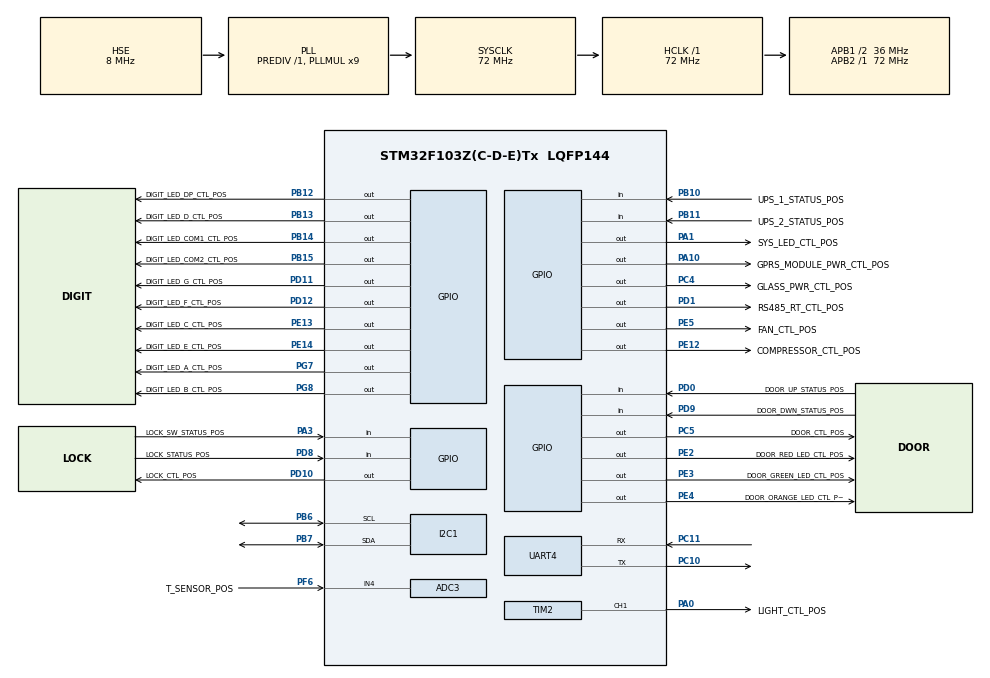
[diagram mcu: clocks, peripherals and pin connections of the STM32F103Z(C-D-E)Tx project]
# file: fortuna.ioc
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ADC3.Channel-0\#ChannelRegularConversion=ADC_CHANNEL_4
ADC3.Channel-2\#ChannelInjectedConversion=ADC_CHANNEL_4
ADC3.ContinuousConvMode=DISABLE
ADC3.DataAlign=ADC_DATAALIGN_RIGHT
ADC3.DiscontinuousConvMode=DISABLE
ADC3.EnableAnalogWatchDog=false
ADC3.EnableRegularConversion=ENABLE
ADC3.ExternalTrigConv=ADC_SOFTWARE_START
ADC3.InjNumberOfConversion=1
ADC3.InjectedOffset-2\#ChannelInjectedConversion=0
ADC3.NbrOfConversion=1
ADC3.NbrOfConversionFlag=1
ADC3.Rank-0\#ChannelRegularConversion=1
ADC3.Rank-2\#ChannelInjectedConversion=1
ADC3.SamplingTime-0\#ChannelRegularConversion=ADC_SAMPLETIME_28CYCLES_5
ADC3.SamplingTime-2\#ChannelInjectedConversion=ADC_SAMPLETIME_55CYCLES_5
ADC3.ScanConvMode=ADC_SCAN_DISABLE
Dma.ADC3.0.Direction=DMA_PERIPH_TO_MEMORY
Dma.ADC3.0.Instance=DMA2_Channel5
Dma.ADC3.0.MemDataAlignment=DMA_MDATAALIGN_HALFWORD
Dma.ADC3.0.MemInc=DMA_MINC_ENABLE
Dma.ADC3.0.Mode=DMA_CIRCULAR
Dma.ADC3.0.PeriphDataAlignment=DMA_PDATAALIGN_HALFWORD
Dma.ADC3.0.PeriphInc=DMA_PINC_DISABLE
Dma.ADC3.0.Priority=DMA_PRIORITY_LOW
Dma.Request0=ADC3
FREERTOS.INCLUDE_eTaskGetState=1
FREERTOS.INCLUDE_pcTaskGetTaskName=1
FREERTOS.INCLUDE_uxTaskGetStackHighWaterMark=1
FREERTOS.INCLUDE_vTaskDelayUntil=1
FREERTOS.INCLUDE_xEventGroupSetBitFromISR=1
FREERTOS.INCLUDE_xTaskGetCurrentTaskHandle=1
FREERTOS.INCLUDE_xTimerPendFunctionCall=1
FREERTOS.Tasks01=defaultTask,0,256,StartDefaultTask,Default,NULL,Dynamic,NULL,NULL
FREERTOS.configCHECK_FOR_STACK_OVERFLOW=2
FREERTOS.configGENERATE_RUN_TIME_STATS=1
FREERTOS.configMAX_TASK_NAME_LEN=32
FREERTOS.configMINIMAL_STACK_SIZE=256
FREERTOS.configTIMER_TASK_PRIORITY=4
FREERTOS.configTIMER_TASK_STACK_DEPTH=256
FREERTOS.configTOTAL_HEAP_SIZE=40960
FREERTOS.configUSE_IDLE_HOOK=1
FREERTOS.configUSE_MALLOC_FAILED_HOOK=1
FREERTOS.configUSE_STATS_FORMATTING_FUNCTIONS=1
FREERTOS.configUSE_TICK_HOOK=1
FREERTOS.configUSE_TIMERS=1
FREERTOS.configUSE_TRACE_FACILITY=1
IWDG.Prescaler=IWDG_PRESCALER_4
IWDG.Reload=2499
Mcu.Family=STM32F1
Mcu.Name=STM32F103Z(C-D-E)Tx
Mcu.Package=LQFP144
NVIC.DMA2_Channel4_5_IRQn=true\:5\:0\:false\:false\:true\:true\:false
NVIC.I2C1_ER_IRQn=true\:5\:0\:false\:false\:true\:true\:true
NVIC.I2C1_EV_IRQn=true\:5\:0\:false\:false\:true\:true\:true
NVIC.PriorityGroup=NVIC_PRIORITYGROUP_4
NVIC.UART4_IRQn=true\:5\:0\:false\:false\:true\:true\:true
OSC_IN.Mode=HSE-External-Oscillator
OSC_IN.Signal=RCC_OSC_IN
OSC_OUT.Mode=HSE-External-Oscillator
OSC_OUT.Signal=RCC_OSC_OUT
PA0-WKUP.GPIO_Label=LIGHT_CTL_POS
PA0-WKUP.Signal=S_TIM2_CH1_ETR
PA1.GPIO_Label=SYS_LED_CTL_POS
PA1.Signal=GPIO_Output
PA10.GPIO_Label=GPRS_MODULE_PWR_CTL_POS
PA10.Signal=GPIO_Output
PA13.Mode=JTAG_5_pins
PA13.Signal=SYS_JTMS-SWDIO
PA14.Mode=JTAG_5_pins
PA14.Signal=SYS_JTCK-SWCLK
PA15.Mode=JTAG_5_pins
PA15.Signal=SYS_JTDI
PA3.GPIO_Label=LOCK_SW_STATUS_POS
PA3.GPIO_PuPd=GPIO_PULLUP
PA3.Signal=GPIO_Input
PB10.GPIO_Label=UPS_1_STATUS_POS
PB10.GPIO_PuPd=GPIO_PULLDOWN
PB10.Signal=GPIO_Input
PB11.GPIO_Label=UPS_2_STATUS_POS
PB11.GPIO_PuPd=GPIO_PULLDOWN
PB11.Signal=GPIO_Input
PB12.GPIO_Label=DIGIT_LED_DP_CTL_POS
PB12.Signal=GPIO_Output
PB13.GPIO_Label=DIGIT_LED_D_CTL_POS
PB13.Signal=GPIO_Output
PB14.GPIO_Label=DIGIT_LED_COM1_CTL_POS
PB14.Signal=GPIO_Output
PB15.GPIO_Label=DIGIT_LED_COM2_CTL_POS
PB15.Signal=GPIO_Output
PB3.Mode=JTAG_5_pins
PB3.Signal=SYS_JTDO-TRACESWO
PB4.Mode=JTAG_5_pins
PB4.Signal=SYS_NJTRST
PB6.Mode=I2C
PB6.Signal=I2C1_SCL
PB7.Mode=I2C
PB7.Signal=I2C1_SDA
PC10.Mode=Asynchronous
PC10.Signal=UART4_TX
PC11.Mode=Asynchronous
PC11.Signal=UART4_RX
PC4.GPIO_Label=GLASS_PWR_CTL_POS
PC4.Signal=GPIO_Output
PC5.GPIO_Label=DOOR_CTL_POS
PC5.Signal=GPIO_Output
PD0.GPIO_Label=DOOR_UP_STATUS_POS
PD0.GPIO_PuPd=GPIO_PULLDOWN
PD0.Signal=GPIO_Input
PD1.GPIO_Label=RS485_RT_CTL_POS
PD1.Signal=GPIO_Output
PD10.GPIO_Label=LOCK_CTL_POS
PD10.Signal=GPIO_Output
PD11.GPIO_Label=DIGIT_LED_G_CTL_POS
PD11.Signal=GPIO_Output
PD12.GPIO_Label=DIGIT_LED_F_CTL_POS
PD12.Signal=GPIO_Output
PD8.GPIO_Label=LOCK_STATUS_POS
PD8.GPIO_PuPd=GPIO_PULLDOWN
PD8.Signal=GPIO_Input
PD9.GPIO_Label=DOOR_DWN_STATUS_POS
PD9.GPIO_PuPd=GPIO_PULLDOWN
PD9.Signal=GPIO_Input
PE12.GPIO_Label=COMPRESSOR_CTL_POS
PE12.Signal=GPIO_Output
PE13.GPIO_Label=DIGIT_LED_C_CTL_POS
PE13.Signal=GPIO_Output
PE14.GPIO_Label=DIGIT_LED_E_CTL_POS
PE14.Signal=GPIO_Output
PE2.GPIO_Label=DOOR_RED_LED_CTL_POS
PE2.Signal=GPIO_Output
PE3.GPIO_Label=DOOR_GREEN_LED_CTL_POS
PE3.Signal=GPIO_Output
PE4.GPIO_Label=DOOR_ORANGE_LED_CTL_POS
PE4.Signal=GPIO_Output
PE5.GPIO_Label=FAN_CTL_POS
PE5.Signal=GPIO_Output
PF6.GPIO_Label=T_SENSOR_POS
PF6.Mode=IN4
PF6.Signal=ADC3_IN4
PG7.GPIO_Label=DIGIT_LED_A_CTL_POS
PG7.Signal=GPIO_Output
PG8.GPIO_Label=DIGIT_LED_B_CTL_POS
PG8.Signal=GPIO_Output
ProjectManager.HeapSize=0x00
ProjectManager.StackSize=0x400
ProjectManager.TargetToolchain=MDK-ARM V5
RCC.ADCPresc=RCC_ADCPCLK2_DIV6
RCC.AHBFreq_Value=72000000
RCC.APB1CLKDivider=RCC_HCLK_DIV2
RCC.APB1Freq_Value=36000000
RCC.APB1TimFreq_Value=72000000
RCC.APB2Freq_Value=72000000
RCC.APB2TimFreq_Value=72000000
RCC.HCLKFreq_Value=72000000
RCC.PLLMUL=RCC_PLL_MUL9
RCC.PLLSourceVirtual=RCC_PLLSOURCE_HSE
RCC.SYSCLKFreq_VALUE=72000000
RCC.SYSCLKSource=RCC_SYSCLKSOURCE_PLLCLK
RCC.USBFreq_Value=72000000
SH.S_TIM2_CH1_ETR.0=TIM2_CH1,PWM Generation1 CH1
TIM2.Channel-PWM\ Generation1\ CH1=TIM_CHANNEL_1
TIM2.Period=3999
TIM2.Prescaler=71
TIM2.Pulse-PWM\ Generation1\ CH1=2999
UART4.VirtualMode=Asynchronous
VP_FREERTOS_VS_ENABLE.Mode=Enabled
VP_IWDG_VS_IWDG.Mode=IWDG_Activate
board=fortuna

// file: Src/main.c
/**
  ******************************************************************************
  * File Name          : main.c
  * Description        : Main program body
  ******************************************************************************
  * This notice applies to any and all portions of this file
  * that are not between comment pairs USER CODE BEGIN and
  * USER CODE END. Other portions of this file, whether
  * inserted by the user or by software development tools
  * are owned by their respective copyright owners.
  *
  * Copyright (c) 2018 STMicroelectronics International N.V.
  * All rights reserved.
  *
  * Redistribution and use in source and binary forms, with or without
  * modification, are permitted, provided that the following conditions are met:
  *
  * 1. Redistribution of source code must retain the above copyright notice,
  *    this list of conditions and the following disclaimer.
  * 2. Redistributions in binary form must reproduce the above copyright notice,
  *    this list of conditions and the following disclaimer in the documentation
  *    and/or other materials provided with the distribution.
  * 3. Neither the name of STMicroelectronics nor the names of other
  *    contributors to this software may be used to endorse or promote products
  *    derived from this software without specific written permission.
  * 4. This software, including modifications and/or derivative works of this
  *    software, must execute solely and exclusively on microcontroller or
  *    microprocessor devices manufactured by or for STMicroelectronics.
  * 5. Redistribution and use of this software other than as permitted under
  *    this license is void and will automatically terminate your rights under
  *    this license.
  *
  * THIS SOFTWARE IS PROVIDED BY STMICROELECTRONICS AND CONTRIBUTORS "AS IS"
  * AND ANY EXPRESS, IMPLIED OR STATUTORY WARRANTIES, INCLUDING, BUT NOT
  * LIMITED TO, THE IMPLIED WARRANTIES OF MERCHANTABILITY, FITNESS FOR A
  * PARTICULAR PURPOSE AND NON-INFRINGEMENT OF THIRD PARTY INTELLECTUAL PROPERTY
  * RIGHTS ARE DISCLAIMED TO THE FULLEST EXTENT PERMITTED BY LAW. IN NO EVENT
  * SHALL STMICROELECTRONICS OR CONTRIBUTORS BE LIABLE FOR ANY DIRECT, INDIRECT,
  * INCIDENTAL, SPECIAL, EXEMPLARY, OR CONSEQUENTIAL DAMAGES (INCLUDING, BUT NOT
  * LIMITED TO, PROCUREMENT OF SUBSTITUTE GOODS OR SERVICES; LOSS OF USE, DATA,
  * OR PROFITS; OR BUSINESS INTERRUPTION) HOWEVER CAUSED AND ON ANY THEORY OF
  * LIABILITY, WHETHER IN CONTRACT, STRICT LIABILITY, OR TORT (INCLUDING
  * NEGLIGENCE OR OTHERWISE) ARISING IN ANY WAY OUT OF THE USE OF THIS SOFTWARE,
  * EVEN IF ADVISED OF THE POSSIBILITY OF SUCH DAMAGE.
  *
  ******************************************************************************
  */

#include "main.h"
#include "stm32f1xx_hal.h"
#include "cmsis_os.h"
#include "adc.h"
#include "dma.h"
#include "i2c.h"
#include "iwdg.h"
#include "tim.h"
#include "usart.h"
#include "gpio.h"

/* USER CODE BEGIN PV */
/* Private variables ---------------------------------------------------------*/

/* USER CODE END PV */

void SystemClock_Config(void);
void MX_FREERTOS_Init(void);

/* USER CODE BEGIN PFP */
/* Private function prototypes -----------------------------------------------*/

/* USER CODE END PFP */

int main(void)
{

  /* MCU Configuration----------------------------------------------------------*/

  /* Reset of all peripherals, Initializes the Flash interface and the Systick. */
  HAL_Init();

  /* Configure the system clock */
  SystemClock_Config();

  /* Initialize all configured peripherals */
  MX_GPIO_Init();
  MX_DMA_Init();
  MX_IWDG_Init();
  MX_ADC3_Init();
  MX_TIM2_Init();
  MX_UART4_Init();
  MX_I2C1_Init();

  /* Call init function for freertos objects (in freertos.c) */
  MX_FREERTOS_Init();

  /* Start scheduler */
  osKernelStart();

  /* We should never get here as control is now taken by the scheduler */

  /* Infinite loop */
  while (1)
  {

  }

}

/** System Clock Configuration
*/
void SystemClock_Config(void)
{

  RCC_OscInitTypeDef RCC_OscInitStruct;
  RCC_ClkInitTypeDef RCC_ClkInitStruct;
  RCC_PeriphCLKInitTypeDef PeriphClkInit;

    /**Initializes the CPU, AHB and APB busses clocks
    */
  RCC_OscInitStruct.OscillatorType = RCC_OSCILLATORTYPE_LSI|RCC_OSCILLATORTYPE_HSE;
  RCC_OscInitStruct.HSEState = RCC_HSE_ON;
  RCC_OscInitStruct.HSEPredivValue = RCC_HSE_PREDIV_DIV1;
  RCC_OscInitStruct.HSIState = RCC_HSI_ON;
  RCC_OscInitStruct.LSIState = RCC_LSI_ON;
  RCC_OscInitStruct.PLL.PLLState = RCC_PLL_ON;
  RCC_OscInitStruct.PLL.PLLSource = RCC_PLLSOURCE_HSE;
  RCC_OscInitStruct.PLL.PLLMUL = RCC_PLL_MUL9;
  if (HAL_RCC_OscConfig(&RCC_OscInitStruct) != HAL_OK)
  {
    _Error_Handler(__FILE__, __LINE__);
  }

    /**Initializes the CPU, AHB and APB busses clocks
    */
  RCC_ClkInitStruct.ClockType = RCC_CLOCKTYPE_HCLK|RCC_CLOCKTYPE_SYSCLK
                              |RCC_CLOCKTYPE_PCLK1|RCC_CLOCKTYPE_PCLK2;
  RCC_ClkInitStruct.SYSCLKSource = RCC_SYSCLKSOURCE_PLLCLK;
  RCC_ClkInitStruct.AHBCLKDivider = RCC_SYSCLK_DIV1;
  RCC_ClkInitStruct.APB1CLKDivider = RCC_HCLK_DIV2;
  RCC_ClkInitStruct.APB2CLKDivider = RCC_HCLK_DIV1;

  if (HAL_RCC_ClockConfig(&RCC_ClkInitStruct, FLASH_LATENCY_2) != HAL_OK)
  {
    _Error_Handler(__FILE__, __LINE__);
  }

  PeriphClkInit.PeriphClockSelection = RCC_PERIPHCLK_ADC;
  PeriphClkInit.AdcClockSelection = RCC_ADCPCLK2_DIV6;
  if (HAL_RCCEx_PeriphCLKConfig(&PeriphClkInit) != HAL_OK)
  {
    _Error_Handler(__FILE__, __LINE__);
  }

    /**Configure the Systick interrupt time
    */
  HAL_SYSTICK_Config(HAL_RCC_GetHCLKFreq()/1000);

    /**Configure the Systick
    */
  HAL_SYSTICK_CLKSourceConfig(SYSTICK_CLKSOURCE_HCLK);

  /* SysTick_IRQn interrupt configuration */
  HAL_NVIC_SetPriority(SysTick_IRQn, 15, 0);
}

void _Error_Handler(char * file, int line)
{
  while(1)
  {
  }
}

/************************ (C) COPYRIGHT STMicroelectronics *****END OF FILE****/

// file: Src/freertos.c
/**
  ******************************************************************************
  * File Name          : freertos.c
  * Description        : Code for freertos applications
  ******************************************************************************
  * This notice applies to any and all portions of this file
  * that are not between comment pairs USER CODE BEGIN and
  * USER CODE END. Other portions of this file, whether
  * inserted by the user or by software development tools
  * are owned by their respective copyright owners.
  *
  * Copyright (c) 2018 STMicroelectronics International N.V.
  * All rights reserved.
  *
  * Redistribution and use in source and binary forms, with or without
  * modification, are permitted, provided that the following conditions are met:
  *
  * 1. Redistribution of source code must retain the above copyright notice,
  *    this list of conditions and the following disclaimer.
  * 2. Redistributions in binary form must reproduce the above copyright notice,
  *    this list of conditions and the following disclaimer in the documentation
  *    and/or other materials provided with the distribution.
  * 3. Neither the name of STMicroelectronics nor the names of other
  *    contributors to this software may be used to endorse or promote products
  *    derived from this software without specific written permission.
  * 4. This software, including modifications and/or derivative works of this
  *    software, must execute solely and exclusively on microcontroller or
  *    microprocessor devices manufactured by or for STMicroelectronics.
  * 5. Redistribution and use of this software other than as permitted under
  *    this license is void and will automatically terminate your rights under
  *    this license.
  *
  * THIS SOFTWARE IS PROVIDED BY STMICROELECTRONICS AND CONTRIBUTORS "AS IS"
  * AND ANY EXPRESS, IMPLIED OR STATUTORY WARRANTIES, INCLUDING, BUT NOT
  * LIMITED TO, THE IMPLIED WARRANTIES OF MERCHANTABILITY, FITNESS FOR A
  * PARTICULAR PURPOSE AND NON-INFRINGEMENT OF THIRD PARTY INTELLECTUAL PROPERTY
  * RIGHTS ARE DISCLAIMED TO THE FULLEST EXTENT PERMITTED BY LAW. IN NO EVENT
  * SHALL STMICROELECTRONICS OR CONTRIBUTORS BE LIABLE FOR ANY DIRECT, INDIRECT,
  * INCIDENTAL, SPECIAL, EXEMPLARY, OR CONSEQUENTIAL DAMAGES (INCLUDING, BUT NOT
  * LIMITED TO, PROCUREMENT OF SUBSTITUTE GOODS OR SERVICES; LOSS OF USE, DATA,
  * OR PROFITS; OR BUSINESS INTERRUPTION) HOWEVER CAUSED AND ON ANY THEORY OF
  * LIABILITY, WHETHER IN CONTRACT, STRICT LIABILITY, OR TORT (INCLUDING
  * NEGLIGENCE OR OTHERWISE) ARISING IN ANY WAY OUT OF THE USE OF THIS SOFTWARE,
  * EVEN IF ADVISED OF THE POSSIBILITY OF SUCH DAMAGE.
  *
  ******************************************************************************
  */

#include "FreeRTOS.h"
#include "task.h"
#include "cmsis_os.h"

/* USER CODE BEGIN Includes */
#include "app_common.h"
#include "shopping_task.h"
#include "report_task.h"
#include "watch_dog_task.h"
#include "lock_ctrl_task.h"
#include "lock_switch_task.h"
#include "lock_status_task.h"
#include "door_status_task.h"
#include "display_task.h"
#include "temperature_cache_task.h"
#include "debug_task.h"
#include "light_ctrl_task.h"
#include "fan_ctrl_task.h"
#include "sys_led_task.h"
#include "glass_pwr_task.h"
#include "temperature_task.h"
#include "compressor_task.h"
#include "ups_status_task.h"
/*
#include "temperature_memory_task.h"
*/
/*
#include "debug_task.h"
*/
#define APP_LOG_MODULE_NAME   "[freertos]"
#define APP_LOG_MODULE_LEVEL   APP_LOG_LEVEL_DEBUG
#include "app_log.h"
#include "app_error.h"
/* USER CODE END Includes */

osThreadId defaultTaskHandle;

/* USER CODE BEGIN Variables */
static void create_user_tasks();
/* USER CODE END Variables */

void StartDefaultTask(void const * argument);

void MX_FREERTOS_Init(void); /* (MISRA C 2004 rule 8.1) */

/* Hook prototypes */
void configureTimerForRunTimeStats(void);
unsigned long getRunTimeCounterValue(void);
void vApplicationIdleHook(void);
void vApplicationTickHook(void);
void vApplicationStackOverflowHook(xTaskHandle xTask, signed char *pcTaskName);
void vApplicationMallocFailedHook(void);

/* USER CODE BEGIN 1 */
/* Functions needed when configGENERATE_RUN_TIME_STATS is on */
__weak void configureTimerForRunTimeStats(void)
{

}

__weak unsigned long getRunTimeCounterValue(void)
{
return 0;
}
/* USER CODE END 1 */

/* USER CODE BEGIN 2 */
__weak void vApplicationIdleHook( void )
{
   /* vApplicationIdleHook() will only be called if configUSE_IDLE_HOOK is set
   to 1 in FreeRTOSConfig.h. It will be called on each iteration of the idle
   task. It is essential that code added to this hook function never attempts
   to block in any way (for example, call xQueueReceive() with a block time
   specified, or call vTaskDelay()). If the application makes use of the
   vTaskDelete() API function (as this demo application does) then it is also
   important that vApplicationIdleHook() is permitted to return to its calling
   function, because it is the responsibility of the idle task to clean up
   memory allocated by the kernel to any task that has since been deleted. */
}
/* USER CODE END 2 */

/* USER CODE BEGIN 3 */
__weak void vApplicationTickHook( void )
{
   /* This function will be called by each tick interrupt if
   configUSE_TICK_HOOK is set to 1 in FreeRTOSConfig.h. User code can be
   added here, but the tick hook is called from an interrupt context, so
   code must not attempt to block, and only the interrupt safe FreeRTOS API
   functions can be used (those that end in FromISR()). */
}
/* USER CODE END 3 */

/* USER CODE BEGIN 4 */
__weak void vApplicationStackOverflowHook(xTaskHandle xTask, signed char *pcTaskName)
{
   /* Run time stack overflow checking is performed if
   configCHECK_FOR_STACK_OVERFLOW is defined to 1 or 2. This hook function is
   called if a stack overflow is detected. */
  APP_LOG_ERROR("%s任务栈溢出.\r\n",pcTaskName);
  APP_ERROR_HANDLER(0);
}
/* USER CODE END 4 */

/* USER CODE BEGIN 5 */
__weak void vApplicationMallocFailedHook(void)
{
   /* vApplicationMallocFailedHook() will only be called if
   configUSE_MALLOC_FAILED_HOOK is set to 1 in FreeRTOSConfig.h. It is a hook
   function that will get called if a call to pvPortMalloc() fails.
   pvPortMalloc() is called internally by the kernel whenever a task, queue,
   timer or semaphore is created. It is also called by various parts of the
   demo application. If heap_1.c or heap_2.c are used, then the size of the
   heap available to pvPortMalloc() is defined by configTOTAL_HEAP_SIZE in
   FreeRTOSConfig.h, and the xPortGetFreeHeapSize() API function can be used
   to query the size of free heap space that remains (although it does not
   provide information on how the remaining heap might be fragmented). */
  APP_LOG_ERROR("系统内存分配失败.\r\n");
  APP_ERROR_HANDLER(0);
}
/* USER CODE END 5 */

/* Init FreeRTOS */

void MX_FREERTOS_Init(void) {

  /* Create the thread(s) */
  /* definition and creation of defaultTask */
  osThreadDef(defaultTask, StartDefaultTask, osPriorityNormal, 0, 256);
  defaultTaskHandle = osThreadCreate(osThread(defaultTask), NULL);

}

/* StartDefaultTask function */
void StartDefaultTask(void const * argument)
{

  /* USER CODE BEGIN StartDefaultTask */
  /* Infinite loop */
  /*创建用户任务*/
  APP_LOG_DEBUG("创建用户任务...\r\n");

  create_user_tasks();

  for(;;)
  {
    osDelay(1);
  }
  /* USER CODE END StartDefaultTask */
}

/* USER CODE BEGIN Application */
static void create_user_tasks()
{
  task_sync_evt_group_hdl=xEventGroupCreate();
  APP_ASSERT(task_sync_evt_group_hdl);

  osThreadDef(shopping_task, shopping_task, osPriorityNormal, 0, 256);
  shopping_task_hdl = osThreadCreate(osThread(shopping_task), NULL);
  APP_ASSERT(shopping_task_hdl);

  osThreadDef(report_task, report_task, osPriorityNormal, 0, 256);
  report_task_hdl = osThreadCreate(osThread(report_task), NULL);
  APP_ASSERT(report_task_hdl);

  osThreadDef(watch_dog_task, watch_dog_task, osPriorityNormal, 0, 128);
  watch_dog_task_hdl = osThreadCreate(osThread(watch_dog_task), NULL);
  APP_ASSERT(watch_dog_task_hdl);

  osThreadDef(compressor_task, compressor_task, osPriorityNormal, 0, 256);
  compressor_task_hdl = osThreadCreate(osThread(compressor_task), NULL);
  APP_ASSERT(compressor_task_hdl);

  osThreadDef(sys_led_task, sys_led_task, osPriorityNormal, 0, 128);
  sys_led_task_hdl = osThreadCreate(osThread(sys_led_task), NULL);
  APP_ASSERT(sys_led_task_hdl);

  osThreadDef(lock_ctrl_task, lock_ctrl_task, osPriorityNormal, 0, 256);
  lock_ctrl_task_hdl = osThreadCreate(osThread(lock_ctrl_task), NULL);
  APP_ASSERT(lock_ctrl_task_hdl);

  osThreadDef(lock_status_task, lock_status_task, osPriorityNormal, 0, 128);
  lock_status_task_hdl = osThreadCreate(osThread(lock_status_task), NULL);
  APP_ASSERT(lock_status_task_hdl);

  osThreadDef(lock_switch_task, lock_switch_task, osPriorityNormal, 0, 128);
  lock_switch_task_hdl = osThreadCreate(osThread(lock_switch_task), NULL);
  APP_ASSERT(lock_switch_task_hdl);

  osThreadDef(door_status_task, door_status_task, osPriorityNormal, 0, 128);
  door_status_task_hdl = osThreadCreate(osThread(door_status_task), NULL);
  APP_ASSERT(door_status_task_hdl);

  osThreadDef(light_ctrl_task, light_ctrl_task, osPriorityNormal, 0, 128);
  light_ctrl_task_hdl = osThreadCreate(osThread(light_ctrl_task), NULL);
  APP_ASSERT(light_ctrl_task_hdl);

  osThreadDef(fan_ctrl_task, fan_ctrl_task, osPriorityNormal, 0, 128);
  fan_ctrl_task_hdl = osThreadCreate(osThread(fan_ctrl_task), NULL);
  APP_ASSERT(fan_ctrl_task_hdl);

  osThreadDef(glass_pwr_task, glass_pwr_task, osPriorityNormal, 0, 128);
  glass_pwr_task_hdl = osThreadCreate(osThread(glass_pwr_task), NULL);
  APP_ASSERT(glass_pwr_task_hdl);

  osThreadDef(ups_status_task, ups_status_task, osPriorityNormal, 0, 128);
  ups_status_task_hdl = osThreadCreate(osThread(ups_status_task), NULL);
  APP_ASSERT(ups_status_task_hdl);

  osThreadDef(temperature_task, temperature_task, osPriorityNormal, 0, 128);
  temperature_task_hdl = osThreadCreate(osThread(temperature_task), NULL);
  APP_ASSERT(temperature_task_hdl);

  osThreadDef(temperature_cache_task, temperature_cache_task, osPriorityNormal, 0, 128);
  temperature_cache_task_hdl = osThreadCreate(osThread(temperature_cache_task), NULL);
  APP_ASSERT(temperature_cache_task_hdl);

  osThreadDef(display_task, display_task, osPriorityNormal, 0, 128);
  display_task_hdl = osThreadCreate(osThread(display_task), NULL);
  APP_ASSERT(display_task_hdl);

  osThreadDef(debug_task, debug_task, osPriorityAboveNormal, 0, 256);
  debug_task_hdl = osThreadCreate(osThread(debug_task), NULL);
  APP_ASSERT(debug_task_hdl);

  APP_LOG_INFO("@所有的任务创建成功.\r\n");
}
/* USER CODE END Application */

/************************ (C) COPYRIGHT STMicroelectronics *****END OF FILE****/
